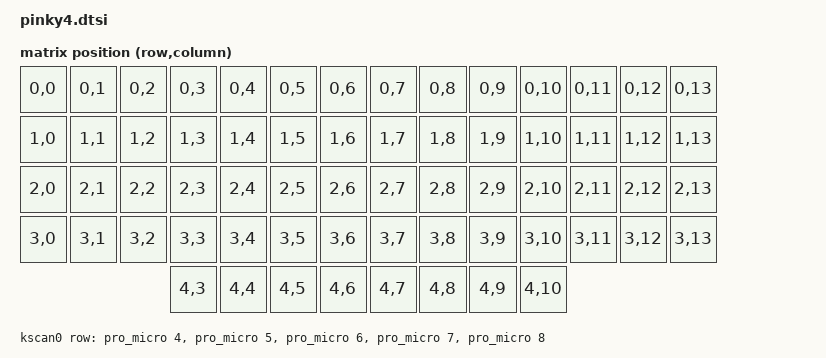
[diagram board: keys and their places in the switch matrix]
/*
 * Copyright (c) 2020 Pete Johanson, Ryan Cross
 * Copyright (c) 2022 Shawn Rutledge
 *
 * SPDX-License-Identifier: MIT
 */

#include <dt-bindings/zmk/matrix_transform.h>

/ {
    chosen {
        zephyr,display = &oled;
        zmk,kscan = &kscan0;
        zmk,matrix_transform = &default_transform;
    };

    default_transform: keymap_transform_0 {
        compatible = "zmk,matrix-transform";
        columns = <16>;
        rows = <5>;
// | SW29 | SW24 | SW19 | SW14 | SW10 | SW6  | SW2  |  | SW2  | SW6  | SW10 | SW14 | SW19 | SW24 | SW29 |
// | SW30 | SW25 | SW20 | SW15 | SW11 | SW7  | SW3  |  | SW3  | SW7  | SW11 | SW15 | SW20 | SW25 | SW30 |
// | SW31 | SW26 | SW21 | SW16 | SW12 | SW8  | SW4  |  | SW4  | SW8  | SW12 | SW16 | SW21 | SW26 | SW31 |
// | SW32 | SW27 | SW22 | SW17 | SW13 | SW9  | SW5  |  | SW5  | SW9  | SW13 | SW17 | SW22 | SW27 | SW32 |
//                      | SW33 | SW28 | SW23 | SW18 |  | SW18 | SW23 | SW28 | SW33 |
        map = <
RC(0,0) RC(0,1) RC(0,2) RC(0,3) RC(0,4) RC(0,5) RC(0,6)  RC(0,7) RC(0,8) RC(0,9) RC(0,10) RC(0,11) RC(0,12) RC(0,13)
RC(1,0) RC(1,1) RC(1,2) RC(1,3) RC(1,4) RC(1,5) RC(1,6)  RC(1,7) RC(1,8) RC(1,9) RC(1,10) RC(1,11) RC(1,12) RC(1,13)
RC(2,0) RC(2,1) RC(2,2) RC(2,3) RC(2,4) RC(2,5) RC(2,6)  RC(2,7) RC(2,8) RC(2,9) RC(2,10) RC(2,11) RC(2,12) RC(2,13)
RC(3,0) RC(3,1) RC(3,2) RC(3,3) RC(3,4) RC(3,5) RC(3,6)  RC(3,7) RC(3,8) RC(3,9) RC(3,10) RC(3,11) RC(3,12) RC(3,13)
                        RC(4,3) RC(4,4) RC(4,5) RC(4,6)  RC(4,7) RC(4,8) RC(4,9) RC(4,10)
        >;
    };

    kscan0: kscan {
        compatible = "zmk,kscan-gpio-matrix";
        label = "KSCAN";

        diode-direction = "col2row";
        row-gpios
            = <&pro_micro 4 (GPIO_ACTIVE_HIGH | GPIO_PULL_DOWN)> // Row 0 from the schematic
            , <&pro_micro 5 (GPIO_ACTIVE_HIGH | GPIO_PULL_DOWN)> // Row 1
            , <&pro_micro 6 (GPIO_ACTIVE_HIGH | GPIO_PULL_DOWN)> // Row 2
            , <&pro_micro 7 (GPIO_ACTIVE_HIGH | GPIO_PULL_DOWN)> // Row 3
            , <&pro_micro 8 (GPIO_ACTIVE_HIGH | GPIO_PULL_DOWN)> // Row 4
            ;
    };
};

&pro_micro_i2c {
    status = "okay";

    oled: ssd1306@3c {
        compatible = "solomon,ssd1306fb";
        reg = <0x3c>;
        label = "DISPLAY";
        width = <128>;
        height = <32>;
        segment-offset = <0>;
        page-offset = <0>;
        display-offset = <0>;
        multiplex-ratio = <31>;
        segment-remap;
        com-invdir;
        com-sequential;
        prechargep = <0x22>;
    };
};
